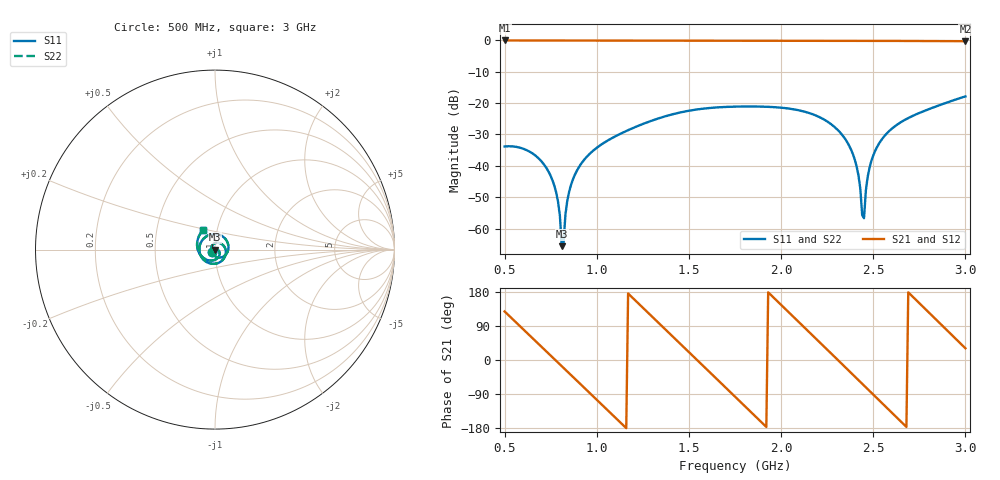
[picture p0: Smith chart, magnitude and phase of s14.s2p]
!freq-unit  param-type  data-format  keyword  impedance-ohms
# GHZ  S  RI  R  50
!Freq  ReS11  ImS11  ReS21  ImS21  ReS12  ImS12  ReS22  ImS22
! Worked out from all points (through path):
!   251 points, 500 MHz to 3 GHz, reference 50 ohm
!   highest |S21| = -0.07 dB at 500 MHz (marker M1); lowest = -0.3 dB at 3 GHz (marker M2)
!   group delay of S21, straight-line fit = 1.31 ns
!   lowest |S11| = -65.6 dB at 810 MHz (marker M3), VSWR 1.00, Z = 50 + j0.0525 ohm
!   |S11| at or under -10 dB: start of sweep to end of sweep
!   |S22| runs from -65.6 to -17.9 dB; largest |S21 - S12| = 0
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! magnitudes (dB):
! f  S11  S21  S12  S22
! 500 MHz  -33.9  -0.1  -0.1  -33.9
! 630 MHz  -35.3  -0.1  -0.1  -35.3
! 730 MHz  -41.0  -0.1  -0.1  -41.0
! 790 MHz  -51.5  -0.1  -0.1  -51.5
! 800 MHz  -55.9  -0.1  -0.1  -55.9
! 810 MHz  -65.6  -0.1  -0.1  -65.6
! 820 MHz  -64.4  -0.1  -0.1  -64.4
! 830 MHz  -55.5  -0.1  -0.1  -55.5
! 850 MHz  -48.3  -0.1  -0.1  -48.3
! 920 MHz  -39.0  -0.1  -0.1  -39.0
! 1.07 GHz  -31.6  -0.1  -0.1  -31.6
! 1.34 GHz  -24.8  -0.1  -0.1  -24.8
! 1.75 GHz  -21.2  -0.2  -0.2  -21.2
! 2.17 GHz  -23.6  -0.2  -0.2  -23.6
! 2.37 GHz  -33.7  -0.2  -0.2  -33.7
! 2.42 GHz  -43.1  -0.2  -0.2  -43.1
! 2.44 GHz  -55.7  -0.2  -0.2  -55.7
! 2.45 GHz  -56.7  -0.2  -0.2  -56.7
! 2.46 GHz  -47.9  -0.2  -0.2  -47.9
! 2.49 GHz  -38.4  -0.2  -0.2  -38.4
! 2.59 GHz  -28.7  -0.2  -0.2  -28.7
! 3 GHz  -17.9  -0.3  -0.3  -17.9
